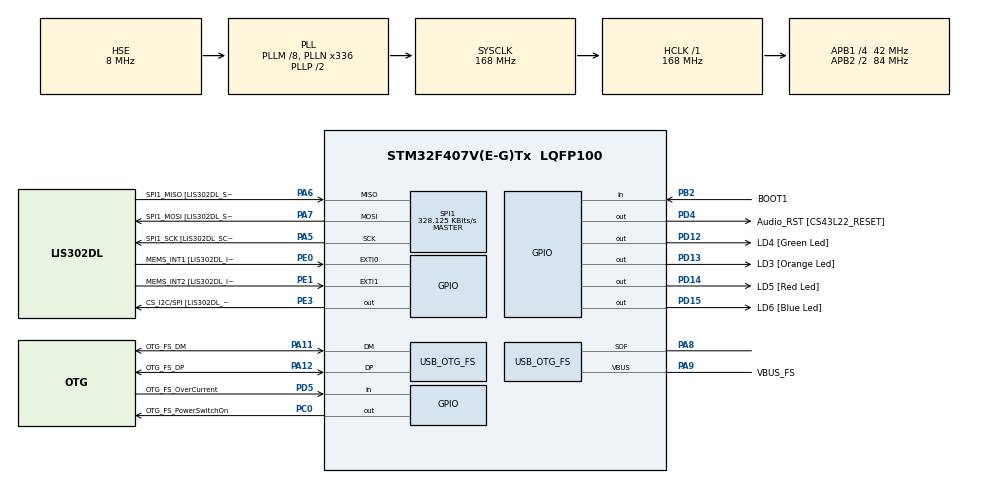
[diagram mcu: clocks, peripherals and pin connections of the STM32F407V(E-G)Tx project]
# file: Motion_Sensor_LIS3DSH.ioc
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Mcu.Family=STM32F4
Mcu.Name=STM32F407V(E-G)Tx
Mcu.Package=LQFP100
NVIC.OTG_FS_IRQn=true\:0\:0\:false\:false\:true
NVIC.PriorityGroup=NVIC_PRIORITYGROUP_0
PA10.GPIO_Label=OTG_FS_ID
PA10.GPIO_Mode=GPIO_MODE_AF_PP
PA10.GPIO_PuPd=GPIO_NOPULL
PA10.GPIO_Speed=GPIO_SPEED_FREQ_LOW
PA10.Signal=USB_OTG_FS_ID
PA11.GPIO_Label=OTG_FS_DM
PA11.GPIO_Mode=GPIO_MODE_AF_PP
PA11.GPIO_PuPd=GPIO_NOPULL
PA11.GPIO_Speed=GPIO_SPEED_FREQ_LOW
PA11.Mode=Device_Only
PA11.Signal=USB_OTG_FS_DM
PA12.GPIO_Label=OTG_FS_DP
PA12.GPIO_Mode=GPIO_MODE_AF_PP
PA12.GPIO_PuPd=GPIO_NOPULL
PA12.GPIO_Speed=GPIO_SPEED_FREQ_LOW
PA12.Mode=Device_Only
PA12.Signal=USB_OTG_FS_DP
PA13.GPIO_Label=SWDIO
PA13.Mode=Trace-Asynchronous_SW
PA13.Signal=SYS_JTMS-SWDIO
PA14.GPIO_Label=SWCLK
PA14.Mode=Trace-Asynchronous_SW
PA14.Signal=SYS_JTCK-SWCLK
PA4.GPIO_Label=I2S3_WS [CS43L22_LRCK]
PA4.GPIO_Mode=GPIO_MODE_AF_PP
PA4.GPIO_PuPd=GPIO_NOPULL
PA4.GPIO_Speed=GPIO_SPEED_FREQ_LOW
PA4.Signal=I2S3_WS
PA5.GPIO_Label=SPI1_SCK [LIS302DL_SCL/SPC]
PA5.GPIO_Mode=GPIO_MODE_AF_PP
PA5.GPIO_PuPd=GPIO_NOPULL
PA5.GPIO_Speed=GPIO_SPEED_FREQ_VERY_HIGH
PA5.Mode=Full_Duplex_Master
PA5.Signal=SPI1_SCK
PA6.GPIO_Label=SPI1_MISO [LIS302DL_SDO]
PA6.GPIO_Mode=GPIO_MODE_AF_PP
PA6.GPIO_PuPd=GPIO_NOPULL
PA6.GPIO_Speed=GPIO_SPEED_FREQ_VERY_HIGH
PA6.Mode=Full_Duplex_Master
PA6.Signal=SPI1_MISO
PA7.GPIO_Label=SPI1_MOSI [LIS302DL_SDA/SDI/SDO]
PA7.GPIO_Mode=GPIO_MODE_AF_PP
PA7.GPIO_PuPd=GPIO_NOPULL
PA7.GPIO_Speed=GPIO_SPEED_FREQ_VERY_HIGH
PA7.Mode=Full_Duplex_Master
PA7.Signal=SPI1_MOSI
PA8.Mode=Activate_SOF_FS
PA8.Signal=USB_OTG_FS_SOF
PA9.GPIO_Label=VBUS_FS
PA9.GPIO_Mode=GPIO_MODE_INPUT
PA9.GPIO_PuPd=GPIO_NOPULL
PA9.Mode=Activate_VBUS
PA9.Signal=USB_OTG_FS_VBUS
PB10.GPIO_Label=CLK_IN [MP45DT02_CLK]
PB10.GPIO_Mode=GPIO_MODE_AF_PP
PB10.GPIO_PuPd=GPIO_NOPULL
PB10.GPIO_Speed=GPIO_SPEED_FREQ_LOW
PB10.Signal=I2S2_CK
PB2.GPIO_Label=BOOT1
PB2.GPIO_Mode=GPIO_MODE_INPUT
PB2.GPIO_PuPd=GPIO_NOPULL
PB2.Signal=GPIO_Input
PB3.GPIO_Label=SWO
PB3.Mode=Trace-Asynchronous_SW
PB3.Signal=SYS_JTDO-SWO
PB6.GPIO_Label=Audio_SCL [CS43L22_SCL]
PB6.GPIO_Mode=GPIO_MODE_AF_OD
PB6.GPIO_PuPd=GPIO_NOPULL
PB6.GPIO_Speed=GPIO_SPEED_FREQ_LOW
PB6.Signal=I2C1_SCL
PB9.GPIO_Label=Audio_SDA [CS43L22_SDA]
PB9.GPIO_Mode=GPIO_MODE_AF_OD
PB9.GPIO_PuPd=GPIO_NOPULL
PB9.GPIO_Speed=GPIO_SPEED_FREQ_LOW
PB9.Signal=I2C1_SDA
PC0.GPIO_Label=OTG_FS_PowerSwitchOn
PC0.GPIO_PuPd=GPIO_NOPULL
PC0.GPIO_Speed=GPIO_SPEED_FREQ_LOW
PC0.Signal=GPIO_Output
PC10.GPIO_Label=I2S3_SCK [CS43L22_SCLK]
PC10.GPIO_Mode=GPIO_MODE_AF_PP
PC10.GPIO_PuPd=GPIO_NOPULL
PC10.GPIO_Speed=GPIO_SPEED_FREQ_LOW
PC10.Signal=I2S3_CK
PC12.GPIO_Label=I2S3_SD [CS43L22_SDIN]
PC12.GPIO_Mode=GPIO_MODE_AF_PP
PC12.GPIO_PuPd=GPIO_NOPULL
PC12.GPIO_Speed=GPIO_SPEED_FREQ_LOW
PC12.Signal=I2S3_SD
PC14-OSC32_IN.GPIO_Label=PC14-OSC32_IN
PC14-OSC32_IN.Signal=RCC_OSC32_IN
PC15-OSC32_OUT.GPIO_Label=PC15-OSC32_OUT
PC15-OSC32_OUT.Signal=RCC_OSC32_OUT
PC3.GPIO_Label=PDM_OUT [MP45DT02_DOUT]
PC3.GPIO_Mode=GPIO_MODE_AF_PP
PC3.GPIO_PuPd=GPIO_NOPULL
PC3.GPIO_Speed=GPIO_SPEED_FREQ_LOW
PC3.Signal=I2S2_SD
PC7.GPIO_Label=I2S3_MCK [CS43L22_MCLK]
PC7.GPIO_Mode=GPIO_MODE_AF_PP
PC7.GPIO_PuPd=GPIO_NOPULL
PC7.GPIO_Speed=GPIO_SPEED_FREQ_LOW
PC7.Signal=I2S3_MCK
PD12.GPIO_Label=LD4 [Green Led]
PD12.GPIO_PuPd=GPIO_NOPULL
PD12.GPIO_Speed=GPIO_SPEED_FREQ_LOW
PD12.Signal=GPIO_Output
PD13.GPIO_Label=LD3 [Orange Led]
PD13.GPIO_PuPd=GPIO_NOPULL
PD13.GPIO_Speed=GPIO_SPEED_FREQ_LOW
PD13.Signal=GPIO_Output
PD14.GPIO_Label=LD5 [Red Led]
PD14.GPIO_PuPd=GPIO_NOPULL
PD14.GPIO_Speed=GPIO_SPEED_FREQ_LOW
PD14.Signal=GPIO_Output
PD15.GPIO_Label=LD6 [Blue Led]
PD15.GPIO_PuPd=GPIO_NOPULL
PD15.GPIO_Speed=GPIO_SPEED_FREQ_LOW
PD15.Signal=GPIO_Output
PD4.GPIO_Label=Audio_RST [CS43L22_RESET]
PD4.GPIO_PuPd=GPIO_NOPULL
PD4.GPIO_Speed=GPIO_SPEED_FREQ_LOW
PD4.Signal=GPIO_Output
PD5.GPIO_Label=OTG_FS_OverCurrent
PD5.GPIO_Mode=GPIO_MODE_INPUT
PD5.GPIO_PuPd=GPIO_NOPULL
PD5.Signal=GPIO_Input
PE0.GPIO_Label=MEMS_INT1 [LIS302DL_INT1]
PE0.Signal=GPXTI0
PE1.GPIO_Label=MEMS_INT2 [LIS302DL_INT2]
PE1.GPIO_ModeDefaultEXTI=GPIO_MODE_EVT_RISING
PE1.GPIO_PuPd=GPIO_NOPULL
PE1.Signal=GPXTI1
PE3.GPIO_Label=CS_I2C/SPI [LIS302DL_CS_I2C/SPI]
PE3.GPIO_PuPd=GPIO_PULLUP
PE3.GPIO_Speed=GPIO_SPEED_FREQ_VERY_HIGH
PE3.PinState=GPIO_PIN_RESET
PE3.Signal=GPIO_Output
PH0-OSC_IN.GPIO_Label=PH0-OSC_IN
PH0-OSC_IN.Mode=HSE-External-Oscillator
PH0-OSC_IN.Signal=RCC_OSC_IN
PH1-OSC_OUT.GPIO_Label=PH1-OSC_OUT
PH1-OSC_OUT.Mode=HSE-External-Oscillator
PH1-OSC_OUT.Signal=RCC_OSC_OUT
ProjectManager.HeapSize=0x1000
ProjectManager.StackSize=0x1000
ProjectManager.TargetToolchain=SW4STM32
RCC.48MHZClocksFreq_Value=48000000
RCC.AHBFreq_Value=168000000
RCC.APB1CLKDivider=RCC_HCLK_DIV4
RCC.APB1Freq_Value=42000000
RCC.APB1TimFreq_Value=84000000
RCC.APB2CLKDivider=RCC_HCLK_DIV2
RCC.APB2Freq_Value=84000000
RCC.APB2TimFreq_Value=168000000
RCC.CortexFreq_Value=168000000
RCC.HCLKFreq_Value=168000000
RCC.HSE_VALUE=8000000
RCC.HSI_VALUE=16000000
RCC.LSE_VALUE=32768
RCC.PLLM=8
RCC.PLLN=336
RCC.PLLQ=7
RCC.SYSCLKFreq_VALUE=168000000
RCC.SYSCLKSource=RCC_SYSCLKSOURCE_PLLCLK
RCC.VCOOutputFreq_Value=336000000
SPI1.BaudRatePrescaler=SPI_BAUDRATEPRESCALER_256
SPI1.CLKPhase=SPI_PHASE_2EDGE
SPI1.CLKPolarity=SPI_POLARITY_HIGH
SPI1.CalculateBaudRate=328.125 KBits/s
SPI1.Mode=SPI_MODE_MASTER
USB_DEVICE.CLASS_NAME-CUSTOM_HID_FS=CUSTOMHID
USB_DEVICE.USBD_CUSTOMHID_OUTREPORT_BUF_SIZE-CUSTOM_HID_FS=16
USB_DEVICE.USBD_CUSTOM_HID_REPORT_DESC_SIZE-CUSTOM_HID_FS=16
USB_DEVICE.USBD_HandleTypeDef-CUSTOM_HID_FS=hUsbDeviceFS
USB_DEVICE.VirtualMode-CUSTOM_HID_FS=CustomHid
USB_DEVICE.VirtualModeFS=Custom_Hid_FS
USB_OTG_FS.VirtualMode=Device_Only
VP_USB_DEVICE_VS_USB_DEVICE_CUSTOM_HID_FS.Mode=CUSTOM_HID_FS
board=STM32F407G-DISC1

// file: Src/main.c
/**
  ******************************************************************************
  * File Name          : main.c
  * Description        : Main program body
  ******************************************************************************
  *
  * COPYRIGHT(c) 2016 STMicroelectronics
  *
  * Redistribution and use in source and binary forms, with or without modification,
  * are permitted provided that the following conditions are met:
  *   1. Redistributions of source code must retain the above copyright notice,
  *      this list of conditions and the following disclaimer.
  *   2. Redistributions in binary form must reproduce the above copyright notice,
  *      this list of conditions and the following disclaimer in the documentation
  *      and/or other materials provided with the distribution.
  *   3. Neither the name of STMicroelectronics nor the names of its contributors
  *      may be used to endorse or promote products derived from this software
  *      without specific prior written permission.
  *
  * THIS SOFTWARE IS PROVIDED BY THE COPYRIGHT HOLDERS AND CONTRIBUTORS "AS IS"
  * AND ANY EXPRESS OR IMPLIED WARRANTIES, INCLUDING, BUT NOT LIMITED TO, THE
  * IMPLIED WARRANTIES OF MERCHANTABILITY AND FITNESS FOR A PARTICULAR PURPOSE ARE
  * DISCLAIMED. IN NO EVENT SHALL THE COPYRIGHT HOLDER OR CONTRIBUTORS BE LIABLE
  * FOR ANY DIRECT, INDIRECT, INCIDENTAL, SPECIAL, EXEMPLARY, OR CONSEQUENTIAL
  * DAMAGES (INCLUDING, BUT NOT LIMITED TO, PROCUREMENT OF SUBSTITUTE GOODS OR
  * SERVICES; LOSS OF USE, DATA, OR PROFITS; OR BUSINESS INTERRUPTION) HOWEVER
  * CAUSED AND ON ANY THEORY OF LIABILITY, WHETHER IN CONTRACT, STRICT LIABILITY,
  * OR TORT (INCLUDING NEGLIGENCE OR OTHERWISE) ARISING IN ANY WAY OUT OF THE USE
  * OF THIS SOFTWARE, EVEN IF ADVISED OF THE POSSIBILITY OF SUCH DAMAGE.
  *
  ******************************************************************************
  */
#include "stm32f4xx_hal.h"
#include "spi.h"
#include "usb_device.h"
#include "gpio.h"

/* USER CODE BEGIN Includes */
#include "usbd_custom_hid_if.h"
#include <stdlib.h>
#include <math.h>
/* USER CODE END Includes */

/* USER CODE BEGIN PV */
/* Private variables ---------------------------------------------------------*/

/* USER CODE END PV */

void SystemClock_Config(void);

/* USER CODE BEGIN PFP */
/* Private function prototypes -----------------------------------------------*/
void SPI_send(uint8_t address, uint8_t data);
uint8_t SPI_read(uint8_t address);
void Sort_Signed(int16_t A[], uint8_t L);       // Bubble sort min to max, input: Array/Length
float gToDegrees(float V, float H);             // output: degrees between two planes, input: Vertical/Horizontal force
/* USER CODE END PFP */

/* USER CODE BEGIN 0 */
uint8_t i;
uint8_t MSB, LSB;
int16_t Xg, Yg, Zg;                             // 16-bit values from accelerometer
float x_average;                                // x average of samples
float y_average;                                // y average of samples
float z_average;                                // z average of samples

char print_buffer[CUSTOM_HID_EPOUT_SIZE];       // printing the values in USB

void SPI_send(uint8_t address, uint8_t data)
{
  address = (address | 0x80) ^ 0x80;

  HAL_GPIO_WritePin(GPIOE, GPIO_PIN_3, GPIO_PIN_RESET);

  HAL_SPI_Transmit(&hspi1, &address, sizeof(address), 0x1000);
  HAL_SPI_Transmit(&hspi1, &data, sizeof(data), 0x1000);

  HAL_GPIO_WritePin(GPIOE, GPIO_PIN_3, GPIO_PIN_SET);
}

uint8_t SPI_read(uint8_t address)
{
  uint8_t transmit_data = address | 0x80;      // 0b10 - reading and clearing status
  uint8_t receive_data = 0;

  HAL_GPIO_WritePin(GPIOE, GPIO_PIN_3, GPIO_PIN_RESET);

  HAL_SPI_Transmit(&hspi1, &transmit_data, sizeof(transmit_data), 0x1000);
  transmit_data = 0x00;
  HAL_SPI_TransmitReceive(&hspi1, &transmit_data, &receive_data, sizeof(transmit_data), 0x1000);

  HAL_GPIO_WritePin(GPIOE, GPIO_PIN_3, GPIO_PIN_SET);

  return receive_data;
}

/* USER CODE END 0 */

int main(void)
{

  /* MCU Configuration----------------------------------------------------------*/

  /* Reset of all peripherals, Initializes the Flash interface and the Systick. */
  HAL_Init();

  /* Configure the system clock */
  SystemClock_Config();

  /* Initialize all configured peripherals */
  MX_GPIO_Init();
  MX_USB_DEVICE_Init();
  MX_SPI1_Init();

  /* USER CODE BEGIN 2 */
//  SPI_send(0x23, 0xc9);                         // resetting the accelerometer internal circuit
  SPI_send(0x20, 0x67);                         // 100Hz data update rate, block data update disable, x/y/z enabled
  SPI_send(0x24, 0x20);                         // Anti aliasing filter bandwidth 800Hz, 16G (very sensitive), no self-test, 4-wire interface
  SPI_send(0x10, 0x00);                         // Output(X) = Measurement(X) - OFFSET(X) * 32;
  SPI_send(0x11, 0x00);                         // Output(Y) = Measurement(Y) - OFFSET(Y) * 32;
  SPI_send(0x12, 0x00);                         // Output(Z) = Measurement(Z) - OFFSET(Z) * 32;
  /* USER CODE END 2 */

  /* Infinite loop */
  while (1)
  {

    /* USER CODE BEGIN 3 */
    MSB = SPI_read(0x29);                     // X-axis MSB
    LSB = SPI_read(0x28);                     // X-axis LSB
    Xg = (MSB << 8) | (LSB);                  // Merging

    MSB = SPI_read(0x2a);                     // Y-axis MSB
    LSB = SPI_read(0x2b);                     // Y-axis LSB
    Yg = (MSB << 8) | (LSB);                  // Merging

    MSB = SPI_read(0x2d);                     // Z-axis MSB
    LSB = SPI_read(0x2c);                     // Z-axis LSB
    Zg = (MSB << 8) | (LSB);                  // Merging

    sprintf(print_buffer, "Xg = %d\nYg = %d\nZg = %d\nWHO_AM_I = %d\n\n", Xg, Yg, Zg, SPI_read(0xf));

    USBD_CUSTOM_HID_SendReport(&hUsbDeviceFS, (uint8_t*)print_buffer, sizeof(print_buffer));
    HAL_Delay(500);
  }

  /* USER CODE END 3 */

}

/** System Clock Configuration
*/
void SystemClock_Config(void)
{

  RCC_OscInitTypeDef RCC_OscInitStruct;
  RCC_ClkInitTypeDef RCC_ClkInitStruct;

  __HAL_RCC_PWR_CLK_ENABLE();

  __HAL_PWR_VOLTAGESCALING_CONFIG(PWR_REGULATOR_VOLTAGE_SCALE1);

  RCC_OscInitStruct.OscillatorType = RCC_OSCILLATORTYPE_HSE;
  RCC_OscInitStruct.HSEState = RCC_HSE_ON;
  RCC_OscInitStruct.PLL.PLLState = RCC_PLL_ON;
  RCC_OscInitStruct.PLL.PLLSource = RCC_PLLSOURCE_HSE;
  RCC_OscInitStruct.PLL.PLLM = 8;
  RCC_OscInitStruct.PLL.PLLN = 336;
  RCC_OscInitStruct.PLL.PLLP = RCC_PLLP_DIV2;
  RCC_OscInitStruct.PLL.PLLQ = 7;
  HAL_RCC_OscConfig(&RCC_OscInitStruct);

  RCC_ClkInitStruct.ClockType = RCC_CLOCKTYPE_HCLK|RCC_CLOCKTYPE_SYSCLK
      |RCC_CLOCKTYPE_PCLK1|RCC_CLOCKTYPE_PCLK2;
  RCC_ClkInitStruct.SYSCLKSource = RCC_SYSCLKSOURCE_PLLCLK;
  RCC_ClkInitStruct.AHBCLKDivider = RCC_SYSCLK_DIV1;
  RCC_ClkInitStruct.APB1CLKDivider = RCC_HCLK_DIV4;
  RCC_ClkInitStruct.APB2CLKDivider = RCC_HCLK_DIV2;
  HAL_RCC_ClockConfig(&RCC_ClkInitStruct, FLASH_LATENCY_5);

  HAL_SYSTICK_Config(HAL_RCC_GetHCLKFreq()/1000);

  HAL_SYSTICK_CLKSourceConfig(SYSTICK_CLKSOURCE_HCLK);

  /* SysTick_IRQn interrupt configuration */
  HAL_NVIC_SetPriority(SysTick_IRQn, 0, 0);
}

/************************ (C) COPYRIGHT STMicroelectronics *****END OF FILE****/
